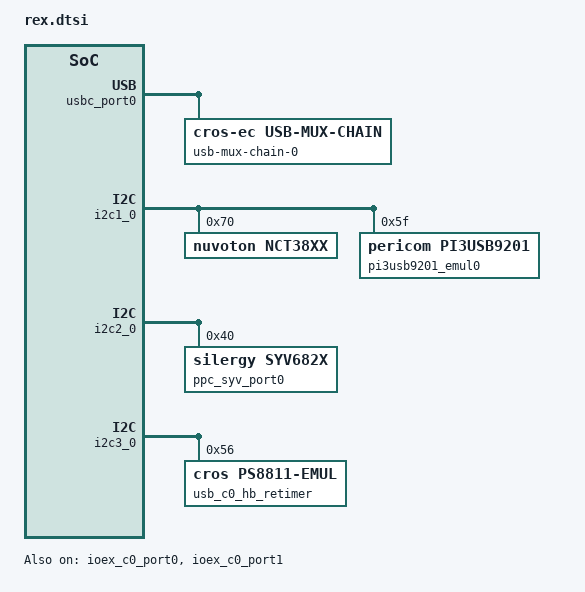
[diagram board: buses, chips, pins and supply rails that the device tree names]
/* Copyright 2023 The ChromiumOS Authors
 * Use of this source code is governed by a BSD-style license that can be
 * found in the LICENSE file.
 */

#include "../native_sim.overlay"
#include "../../../../program/rex/rex/cbi.dtsi"
#include "usb_db.dtsi"

/ {
	chosen {
		cros-ec,espi = &espi0;
	};

	/* Unused Stub */
	named-i2c-ports {
		compatible = "named-i2c-ports";

		named_i2c0: i2c0 {
			i2c-port = <&i2c0>;
			enum-names = "I2C_PORT_USB_MUX";
		};
		named_i2c3_0: i2c3_0 {
			i2c-port = <&i2c3_0>;
			enum-names = "I2C_PORT_USB_C0_RT";
		};
		named_i2c4_1: i2c4_1 {
			i2c-port = <&i2c4_1>;
			enum-names = "I2C_PORT_USB_C1_TCPC";
		};
		named_i2c6_1: i2c6_1 {
			i2c-port = <&i2c6_1>;
			enum-names = "I2C_PORT_USB_1_MIX";
		};
	};

	named-gpios {
		compatible = "named-gpios";

		gpio_usb_c0_bc12_int_l: usb_c0_bc12_int_l {
			gpios = <&gpio1 10 (GPIO_INPUT | GPIO_ACTIVE_LOW)>;
			enum-name = "GPIO_USB_C0_BC12_INT_ODL";
		};
		gpio_usb_c1_bc12_int_l: usb_c1_bc12_int_l {
			gpios = <&gpio1 11 (GPIO_INPUT | GPIO_ACTIVE_LOW)>;
			enum-name = "GPIO_USB_C1_BC12_INT_ODL";
		};
		ioex_usb_c0_sbu_fault_odl: usb_c0_sbu_fault_odl {
			gpios = <&ioex_c0_port1 2 GPIO_INPUT>;
		};
	};

	gpio-interrupts {
		compatible = "cros-ec,gpio-interrupts";

		int_usb_c0_bc12: usb_c0_bc12 {
			irq-pin = <&gpio_usb_c0_bc12_int_l>;
			flags = <GPIO_INT_LEVEL_LOW>;
			handler = "usb0_evt";
		};
		int_usb_c1_bc12: usb_c1_bc12 {
			irq-pin = <&gpio_usb_c1_bc12_int_l>;
			flags = <GPIO_INT_LEVEL_LOW>;
			handler = "usb0_evt";
		};
		int_usb_c0_sbu_fault: c0_sbu_fault {
			irq-pin = <&ioex_usb_c0_sbu_fault_odl>;
			flags = <GPIO_INT_EDGE_FALLING>;
			handler = "sbu_fault_interrupt";
		};
	};

	ioex_c0_port0: gpio@1100 {
		status = "okay";
		compatible = "zephyr,gpio-emul";
		reg = <0x1100 0x4>;
		rising-edge;
		falling-edge;
		high-level;
		low-level;
		gpio-controller;
		#gpio-cells = <2>;
		ngpios = <8>;
	};

	ioex_c0_port1: gpio@1200 {
		status = "okay";
		compatible = "zephyr,gpio-emul";
		reg = <0x1200 0x4>;
		rising-edge;
		falling-edge;
		high-level;
		low-level;
		gpio-controller;
		#gpio-cells = <2>;
		ngpios = <8>;
	};

	usbc {
		#address-cells = <1>;
		#size-cells = <0>;

		usbc_port0: port0@0 {
			compatible = "named-usbc-port";
			reg = <0>;

			bc12 = <&pi3usb9201_emul0>;
			ppc = <&ppc_syv_port0>;
			tcpc = <&tcpc_port0>;
			usb-mux-chain-0 {
				compatible = "cros-ec,usb-mux-chain";
				usb-muxes = <&virtual_mux_c0>;
			};
		};
		port0-muxes {
			virtual_mux_c0: virtual-mux-c0 {
				compatible = "cros-ec,usbc-mux-virtual";
			};
		};
	};
};

&i2c1_0 {
	status = "okay";

	nct38xx@70 {
		compatible = "nuvoton,nct38xx";
		reg = <0x70>;

		tcpc_port0: nct38xx-tcpc {
			compatible = "cros,nct38xx-emul",
				"nuvoton,nct38xx-tcpc";
		};
	};

	pi3usb9201_emul0: pi3usb9201@5f {
		compatible = "pericom,pi3usb9201";
		status = "okay";
		reg = <0x5f>;
		irq = <&int_usb_c0_bc12>;
	};
};

&i2c2_0 {
	status = "okay";

	ppc_syv_port0: ppc_syv@40 {
		compatible = "silergy,syv682x", "cros,i2c-mock";
		status = "okay";
		reg = <0x40>;
	};
};

&i2c3_0 {
	status = "okay";

	/*
	 * Use the PS8811 retimer as a place-holder for the
	 * Intel HBR retimer for now.
	 */
	usb_c0_hb_retimer: ps8811_emul@56 {
		compatible = "cros,ps8811-emul";
		reg = <0x56>;
	};
};
